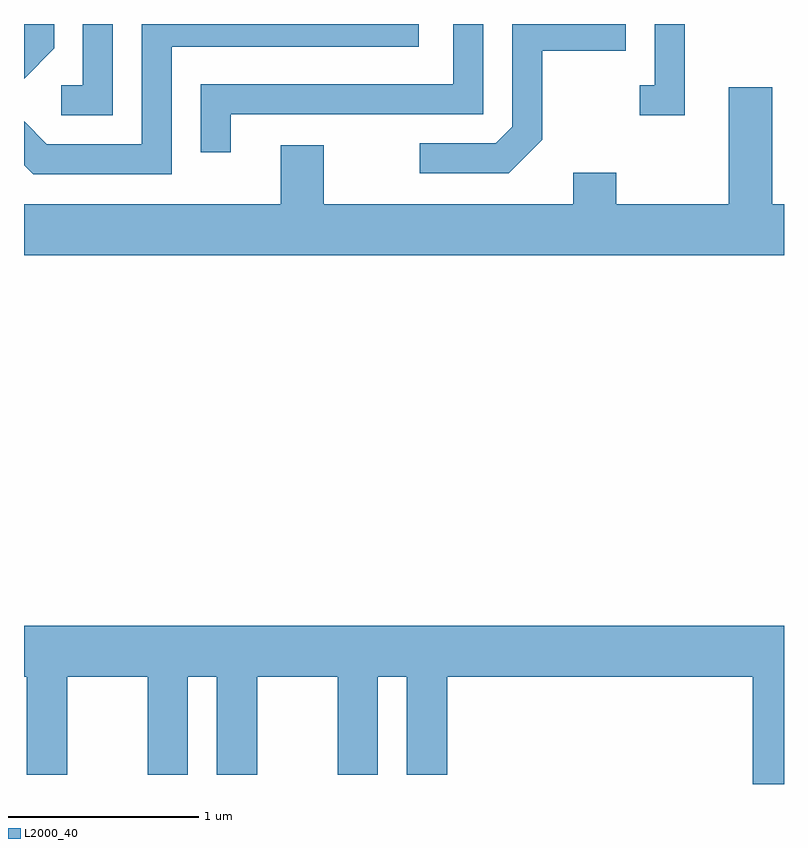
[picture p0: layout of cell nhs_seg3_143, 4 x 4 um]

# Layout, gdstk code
import gdstk
lib = gdstk.Library(unit=1e-6, precision=1e-09)
def P(c, l, *ps):  # polygons
    for p in ps: c.add(gdstk.Polygon(p, *l))
L2000_40 = (2000, 40)

nhs_seg3_143 = lib.new_cell('nhs_seg3_143')
P(nhs_seg3_143, L2000_40, [(190.389,1133.771),(191.689,1133.771),(191.689,1133.892),(190.231,1133.892),(190.231,1133.259),(189.732,1133.259),(189.611,1133.38),(189.611,1133.149),(189.659,1133.101),(190.389,1133.101)],
  [(192.339,1133.284),(192.339,1133.751),(192.779,1133.751),(192.779,1133.892),(192.181,1133.892),(192.181,1133.352),(192.094,1133.264),(191.693,1133.264),(191.693,1133.106),(192.162,1133.106)],
  [(189.769,1133.764),(189.769,1133.892),(189.611,1133.892),(189.611,1133.605)],
  [(190.079,1133.892),(189.921,1133.892),(189.921,1133.569),(189.808,1133.569),(189.808,1133.411),(190.079,1133.411)],
  [(190.699,1133.416),(192.029,1133.416),(192.029,1133.892),(191.871,1133.892),(191.871,1133.574),(190.541,1133.574),(190.541,1133.218),(190.699,1133.218)],
  [(193.089,1133.892),(192.931,1133.892),(192.931,1133.569),(192.853,1133.569),(192.853,1133.411),(193.089,1133.411)],
  [(193.611,1132.944),(193.549,1132.944),(193.549,1133.559),(193.321,1133.559),(193.321,1132.944),(192.729,1132.944),(192.729,1133.109),(192.501,1133.109),(192.501,1132.944),(191.189,1132.944),(191.189,1133.254),(190.961,1133.254),(190.961,1132.944),(189.611,1132.944),(189.611,1132.676),(193.611,1132.676)],
  [(193.611,1130.724),(189.611,1130.724),(189.611,1130.456),(189.626,1130.456),(189.626,1129.941),(189.839,1129.941),(189.839,1130.456),(190.261,1130.456),(190.261,1129.941),(190.474,1129.941),(190.474,1130.456),(190.626,1130.456),(190.626,1129.941),(190.839,1129.941),(190.839,1130.456),(191.261,1130.456),(191.261,1129.941),(191.474,1129.941),(191.474,1130.456),(191.626,1130.456),(191.626,1129.941),(191.839,1129.941),(191.839,1130.456),(193.446,1130.456),(193.446,1129.892),(193.611,1129.892)])

lib.write_gds('nhs_seg3_143.gds')
